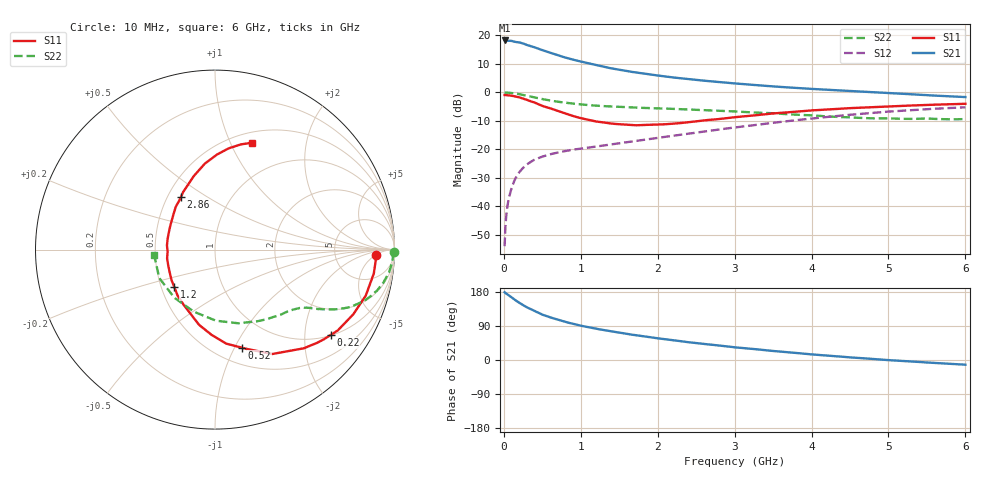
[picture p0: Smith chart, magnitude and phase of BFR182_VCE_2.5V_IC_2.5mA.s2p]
! Infineon Technologies  Discrete & RF Semiconductors
! BFR182
! VCE =  2.5 V,  IC =  2.5 mA
! Common Emitter S-Parameters:  Nov 2015
# GHz  S  MA  R  50
!  f  S11  S21  S12  S22
! GHz  MAG  ANG  MAG  ANG  MAG  ANG  MAG  ANG
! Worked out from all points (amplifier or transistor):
!   210 points, 10 MHz to 6 GHz, reference 50 ohm
!   highest |S21| = 18.2 dB at 10 MHz (marker M1)
!   |S21| within 3 dB of that: start of sweep to 459.2 MHz
!   unconditionally stable (mu >= 1): 1.352 GHz to 3.035 GHz
!   at 185 MHz: K = 0.21, MSG = 23.1 dB, |S12| = -28.7 dB
!   at 1.52 GHz: K = 1.04, MAG = 11.6 dB, |S12| = -17.8 dB
!   at 6 GHz: K = 0.89, MSG = 1.8 dB, |S12| = -5.2 dB
!   S11 on the Smith chart (normalised r, x): 10 MHz: 17, -5; 220 MHz: 1.02, -2.70; 520 MHz: 0.67, -1.07; 1.2 GHz: 0.58, -0.27; 2.86 GHz: 0.59, +0.39; 6 GHz: 0.61, +1.21
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0.01  0.8997 -1.8  8.159 178.7  0.002 88.6  0.9952 -0.8
0.02  0.898 -3.5  7.962 176.9  0.0043 86.4  0.9923 -1.6
0.03  0.8961 -5.2  7.995 175.5  0.0065 85.7  0.9917 -2.3
0.065  0.8877 -11.1  8.045 170.5  0.0138 82.7  0.9866 -4.9
0.1  0.8781 -17.0  8.019 165.5  0.0207 79.7  0.9778 -7.5
0.155  0.8467 -25.9  7.67 157.1  0.0317 75.3  0.9541 -11.3
0.22  0.8013 -36.4  7.413 148.6  0.0427 69.8  0.92 -15.2
0.3  0.7398 -48.0  6.8 139.0  0.0545 65.3  0.8742 -19.3
0.4  0.6637 -61.2  6.186 129.2  0.0662 60.0  0.8191 -23.0
0.52  0.5678 -74.5  5.412 118.4  0.076 55.8  0.7546 -26.1
0.6  0.5276 -83.2  4.986 112.6  0.0819 53.8  0.7196 -27.6
0.72  0.4646 -94.2  4.417 105.2  0.0891 52.1  0.6808 -29.2
0.9  0.3851 -110.3  3.756 95.1  0.099 50.8  0.6359 -31.0
1.02  0.3485 -121.4  3.432 89.7  0.1037 51.1  0.6118 -32.0
1.2  0.3086 -137.1  3.016 82.4  0.1121 51.7  0.5855 -33.6
1.6  0.2714 -169.6  2.356 68.8  0.1332 53.8  0.5507 -37.3
2.02  0.2731 161.7  1.963 56.8  0.1606 56.1  0.5233 -42.4
2.86  0.3484 123.0  1.497 36.8  0.2295 55.9  0.472 -56.6
3.1  0.3769 116.1  1.402 31.7  0.252 54.7  0.455 -62.0
4.1  0.4911 95.0  1.132 13.3  0.3588 46.8  0.3867 -92.8
5.1  0.5752 81.1  0.96 -1.5  0.4696 34.2  0.3462 -134.9
6  0.631 70.8  0.828 -12.4  0.5475 20.2  0.3403 -175.2
